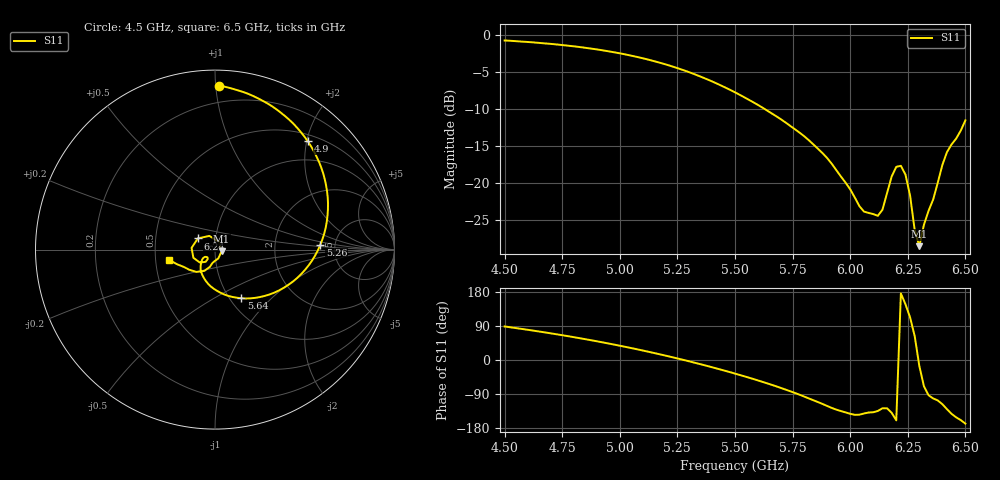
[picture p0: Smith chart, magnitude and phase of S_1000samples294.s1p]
! TOUCHSTONE file generated by CST MICROWAVE STUDIO
! Date and time: Thu Oct 27 16:12:09 2022
! Project name: L.cst
! Parameters = {Di=1.27; Epsilon_r=1.56; InnerDiameter=1.27; Length=2; Lf=10; Lg=60; OuterConductorThickness=0.2921; OuterDiameter=3.6; Wf=3; Wp=41.2; de=1.5; df=6.8; g=0.8; gx=3.90802; gy=3.51541; h=2.34; hf=1.524; px=14.6816; py=10.1584; w=9.7; wx=10.7736; wy=6.64303}
! Header version: 2018
! Port assignment regex: !\s*Touchstone port\s*([0-9]+)\s*=\s*(CST MWS port|CST DS port)\s*([0-9]+|Zmin|Zmax)\s*\(\"(.*)\"\)(\s*mode\s*([0-9]+))?.*
! Touchstone port assignment:
! Touchstone port 1 = CST MWS port 1 ("")
# GHz S DB R 50
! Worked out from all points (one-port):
!   101 points, 4.5 GHz to 6.5 GHz, reference 50 ohm
!   lowest |S11| = -28.5 dB at 6.3 GHz (marker M1), VSWR 1.08, Z = 53.8 - j1.09 ohm
!   |S11| at or under -10 dB: 5.628 GHz to end of sweep
!   S11 on the Smith chart (normalised r, x): 4.5 GHz: 0.09, +1.02; 4.9 GHz: 0.62, +2.02; 5.26 GHz: 3.82, +0.32; 5.64 GHz: 1.13, -0.68; 6.24 GHz: 0.82, +0.10; 6.5 GHz: 0.59, -0.07
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4.5  -0.79 88.5
4.62  -1.04 77.9
4.76  -1.44 64.4
4.9  -2.00 49.4
5  -2.52 37.7
5.12  -3.34 22.3
5.26  -4.62 2.7
5.38  -6.03 -15.8
5.5  -7.77 -35.9
5.64  -10.24 -61.7
5.76  -12.74 -86.9
5.9  -16.62 -121.3
6  -20.82 -142.0
6.06  -23.83 -141.1
6.12  -24.39 -134.5
6.14  -23.57 -127.4
6.18  -19.11 -139.3
6.2  -17.80 -159.2
6.22  -17.66 175.8
6.24  -18.86 146.8
6.26  -21.68 112.3
6.28  -26.33 62.9
6.3  -28.48 -15.7
6.32  -25.61 -69.2
6.36  -22.22 -101.4
6.4  -17.55 -116.6
6.42  -15.82 -129.8
6.5  -11.54 -167.9
